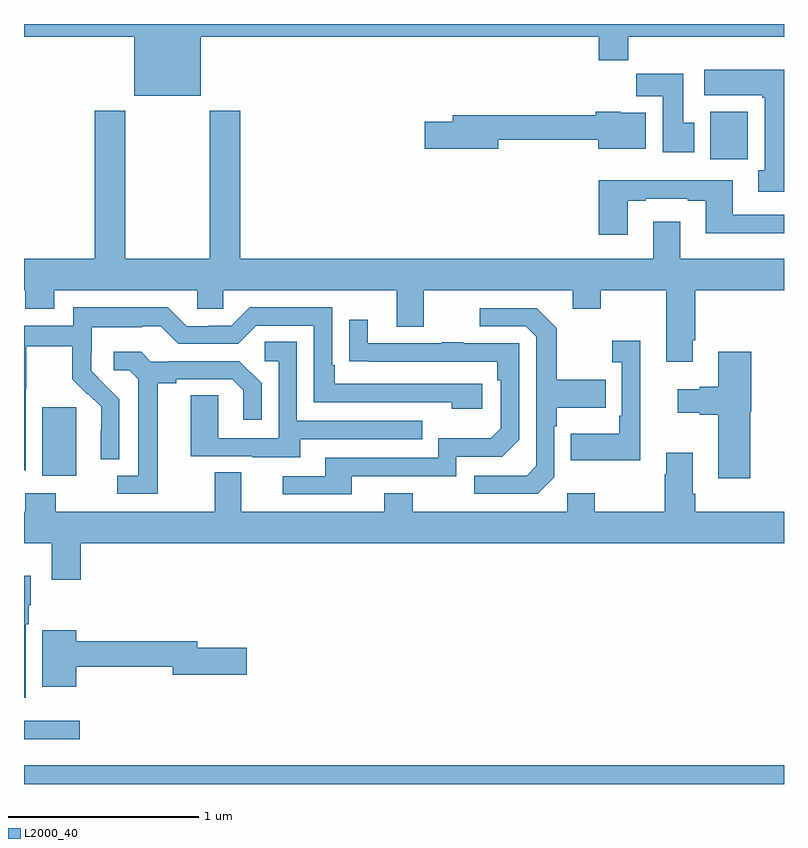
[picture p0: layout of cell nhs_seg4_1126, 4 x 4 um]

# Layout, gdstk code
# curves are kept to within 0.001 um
import gdstk
lib = gdstk.Library(unit=1e-6, precision=1e-09)
def R(c, l, rs):  # rectangles x0, y0, x1, y1
    for r in rs: c.add(gdstk.rectangle(r[:2], r[2:], *l))
def P(c, l, *ps):  # polygons
    for p in ps: c.add(gdstk.Polygon(p, *l))
L2000_40 = (2000, 40)

nhs_seg4_1126 = lib.new_cell('nhs_seg4_1126')
R(nhs_seg4_1126, L2000_40, [(169,780.9,173,781), (169,781.136,169.294,781.233), (169.097,782.522,169.276,782.883), (172.613,784.188,172.809,784.438)])
P(nhs_seg4_1126, L2000_40, [(169.93,784.832),(172.025,784.832),(172.025,784.708),(172.181,784.708),(172.181,784.832),(173,784.832),(173,784.9),(169,784.9),(169,784.832),(169.58,784.832),(169.58,784.523),(169.93,784.523)],
  [(173,784.66),(172.581,784.66),(172.581,784.526),(172.885,784.526),(172.885,784.513),(172.898,784.513),(172.898,784.129),(172.865,784.129),(172.865,784.017),(173,784.017)],
  [(172.528,784.38),(172.471,784.38),(172.471,784.639),(172.222,784.639),(172.222,784.52),(172.361,784.52),(172.361,784.224),(172.528,784.224)],
  [(172.519,783.235),(172.532,783.235),(172.532,783.5),(173,783.5),(173,783.664),(172.453,783.664),(172.453,783.859),(172.313,783.859),(172.313,783.664),(170.138,783.664),(170.138,784.444),(169.978,784.444),(169.978,783.664),(169.533,783.664),(169.533,784.444),(169.373,784.444),(169.373,783.664),(169,783.664),(169,783.5),(169.007,783.5),(169.007,783.401),(169.159,783.401),(169.159,783.5),(169.911,783.5),(169.911,783.402),(170.049,783.402),(170.049,783.5),(170.963,783.5),(170.963,783.306),(171.103,783.306),(171.103,783.5),(171.887,783.5),(171.887,783.401),(172.035,783.401),(172.035,783.5),(172.379,783.5),(172.379,783.123),(172.519,783.123)],
  [(171.496,784.291),(172.022,784.291),(172.022,784.244),(172.273,784.244),(172.273,784.432),(172.14,784.432),(172.14,784.438),(172.01,784.438),(172.01,784.42),(171.257,784.42),(171.257,784.386),(171.108,784.386),(171.108,784.244),(171.496,784.244)],
  [(172.177,783.969),(172.273,783.969),(172.273,783.981),(172.493,783.981),(172.493,783.969),(172.589,783.969),(172.589,783.8),(173,783.8),(173,783.897),(172.729,783.897),(172.729,784.078),(172.025,784.078),(172.025,783.792),(172.177,783.792)],
  [(169.008,782.98),(169.011,782.98),(169.011,783.204),(169.255,783.204),(169.255,783.029),(169.332,782.952),(169.335,782.955),(169.406,782.885),(169.406,782.762),(169.404,782.762),(169.404,782.608),(169.5,782.608),(169.5,782.926),(169.354,783.074),(169.354,783.171),(169.356,783.171),(169.356,783.305),(169.619,783.305),(169.619,783.309),(169.719,783.309),(169.812,783.216),(170.127,783.216),(170.223,783.312),(170.526,783.312),(170.526,782.91),(171.251,782.91),(171.251,782.876),(171.412,782.876),(171.412,783.006),(170.635,783.006),(170.635,783.103),(170.622,783.103),(170.622,783.408),(170.187,783.408),(170.091,783.312),(169.973,783.312),(169.973,783.309),(169.857,783.309),(169.757,783.409),(169.26,783.409),(169.26,783.312),(169,783.312),(169,782.551),(169.008,782.551)],
  [(171.792,782.514),(171.792,782.783),(171.805,782.783),(171.805,782.879),(172.061,782.879),(172.061,783.027),(171.805,783.027),(171.805,783.299),(171.699,783.405),(171.399,783.405),(171.399,783.309),(171.642,783.309),(171.696,783.255),(171.696,782.574),(171.645,782.523),(171.369,782.523),(171.369,782.427),(171.705,782.427)],
  [(170.725,782.52),(171.276,782.52),(171.276,782.622),(171.516,782.622),(171.606,782.712),(171.606,783.219),(171.311,783.219),(171.311,783.224),(171.199,783.224),(171.199,783.219),(170.809,783.219),(170.809,783.343),(170.713,783.343),(170.713,783.124),(171.49,783.123),(171.49,783.026),(171.51,783.026),(171.51,782.772),(171.457,782.719),(171.18,782.719),(171.18,782.616),(170.585,782.616),(170.585,782.52),(170.361,782.52),(170.361,782.424),(170.725,782.424)],
  [(172.244,783.232),(172.095,783.232),(172.095,783.119),(172.146,783.119),(172.146,782.839),(172.134,782.839),(172.134,782.743),(171.877,782.743),(171.877,782.603),(172.244,782.603)],
  [(170.455,782.715),(171.095,782.715),(171.095,782.811),(170.436,782.811),(170.436,783.227),(170.268,783.227),(170.268,783.126),(170.34,783.126),(170.34,782.721),(170.022,782.721),(170.022,782.945),(169.877,782.945),(169.877,782.625),(170.201,782.625),(170.201,782.621),(170.455,782.621)],
  [(172.823,782.859),(172.828,782.859),(172.828,783.175),(172.655,783.175),(172.655,782.99),(172.556,782.99),(172.556,782.977),(172.44,782.977),(172.44,782.855),(172.556,782.855),(172.556,782.843),(172.655,782.843),(172.655,782.508),(172.823,782.508)],
  [(169.705,783.008),(169.801,783.008),(169.801,783.03),(170.096,783.03),(170.153,782.973),(170.153,782.817),(170.25,782.817),(170.25,783.01),(170.134,783.126),(169.762,783.126),(169.762,783.123),(169.668,783.123),(169.616,783.175),(169.473,783.175),(169.473,783.078),(169.554,783.078),(169.601,783.031),(169.601,782.523),(169.491,782.523),(169.491,782.427),(169.705,782.427)],
  [(169.298,782.168),(173,782.168),(173,782.332),(172.532,782.332),(172.532,782.428),(172.519,782.428),(172.519,782.644),(172.379,782.644),(172.379,782.531),(172.372,782.531),(172.372,782.332),(172.005,782.332),(172.005,782.431),(171.858,782.431),(171.858,782.332),(171.045,782.332),(171.045,782.431),(170.897,782.431),(170.897,782.332),(170.143,782.332),(170.143,782.54),(170.003,782.54),(170.003,782.332),(169.167,782.332),(169.167,782.431),(169.007,782.431),(169.007,782.332),(169,782.332),(169,782.168),(169.145,782.168),(169.145,781.974),(169.298,781.974)],
  [(169.009,781.742),(169.024,781.742),(169.024,781.842),(169.036,781.842),(169.036,781.996),(169,781.996),(169,781.353),(169.009,781.353)],
  [(169.276,781.516),(169.784,781.516),(169.784,781.474),(170.173,781.474),(170.173,781.616),(169.912,781.616),(169.912,781.652),(169.276,781.652),(169.276,781.708),(169.097,781.708),(169.097,781.412),(169.276,781.412)])

lib.write_gds('nhs_seg4_1126.gds')
